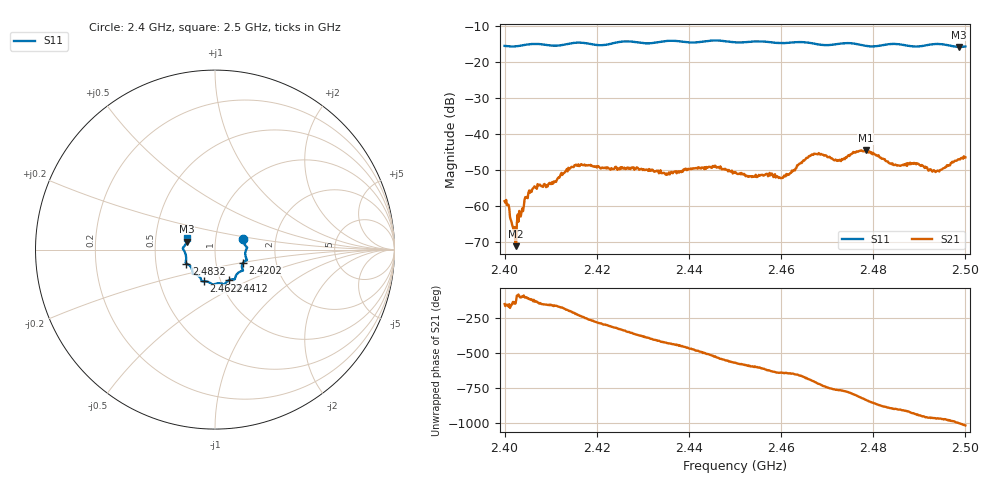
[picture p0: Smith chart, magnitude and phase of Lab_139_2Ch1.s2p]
# Hz S RI R 50
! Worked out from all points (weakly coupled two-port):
!   601 points, 2.4 GHz to 2.5 GHz, reference 50 ohm
!   highest |S21| = -44.47 dB at 2.4783 GHz (marker M1); lowest = -71.1 dB at 2.4025 GHz (marker M2)
!   lowest |S11| = -15.8 dB at 2.4987 GHz (marker M3), VSWR 1.39, Z = 36.3 + j3.29 ohm
!   |S11| at or under -10 dB: start of sweep to end of sweep
!   S12 and S22 are empty: the file has one direction only
!   S11 on the Smith chart (normalised r, x): 2.4 GHz: 1.36, +0.17; 2.4202 GHz: 1.35, -0.20; 2.4412 GHz: 1.09, -0.39; 2.4622 GHz: 0.83, -0.30; 2.4832 GHz: 0.72, -0.12; 2.5 GHz: 0.73, +0.09
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2.4e9  0.1573 0.0602  -0.00102 -0.000574  0 0  0 0
2.400833e9  0.1582 0.051  -0.00103 -0.000216  0 0  0 0
2.402e9  0.1612 0.0371  -0.000382 -0.000247  0 0  0 0
2.4025e9  0.1635 0.032  -0.00016 -0.000229  0 0  0 0
2.404833e9  0.1751 0.0164  -0.000302 -0.00132  0 0  0 0
2.405833e9  0.1782 0.0135  -0.000795 -0.00137  0 0  0 0
2.416667e9  0.1771 -0.0587  -0.00201 0.00328  0 0  0 0
2.420167e9  0.157 -0.0724  0.000759 0.00354  0 0  0 0
2.433333e9  0.1134 -0.1519  0.00191 -0.00247  0 0  0 0
2.441167e9  0.0757 -0.172  -0.00146 -0.00302  0 0  0 0
2.445667e9  0.0522 -0.1935  -0.00349 -0.00111  0 0  0 0
2.45e9  0.0268 -0.1871  -0.00257 0.00136  0 0  0 0
2.459833e9  -0.0414 -0.1794  0.000386 0.00243  0 0  0 0
2.462167e9  -0.0625 -0.1766  0.000824 0.00279  0 0  0 0
2.466667e9  -0.0774 -0.1665  0.00478 0.00211  0 0  0 0
2.4725e9  -0.1174 -0.1363  0.00307 -0.00303  0 0  0 0
2.478333e9  -0.1279 -0.1104  -0.00225 -0.00553  0 0  0 0
2.483167e9  -0.1592 -0.0777  -0.00409 -0.000926  0 0  0 0
2.483333e9  -0.1601 -0.0773  -0.00394 -0.000806  0 0  0 0
2.493833e9  -0.1792 0.00675  -0.00129 0.00282  0 0  0 0
2.498667e9  -0.1569 0.0441  0.000778 0.00443  0 0  0 0
2.5e9  -0.1536 0.062  0.00202 0.00432  0 0  0 0
